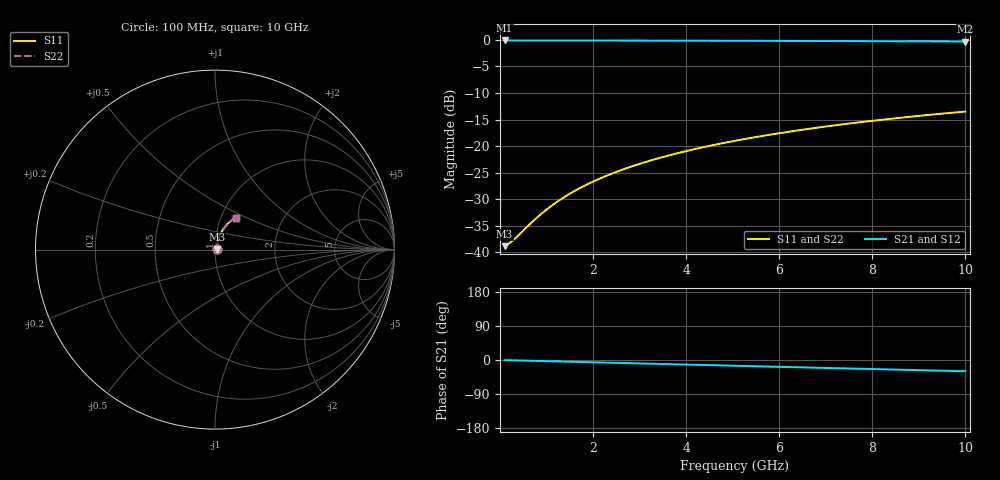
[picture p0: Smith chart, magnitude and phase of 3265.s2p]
# Hz S RI R 50.00
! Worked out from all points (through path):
!   100 points, 100 MHz to 10 GHz, reference 50 ohm
!   highest |S21| = -0.10 dB at 100 MHz (marker M1); lowest = -0.3 dB at 10 GHz (marker M2)
!   group delay of S21, straight-line fit = 8.26 ps
!   lowest |S11| = -38.9 dB at 100 MHz (marker M3), VSWR 1.02, Z = 51.1 + j0.224 ohm
!   |S11| at or under -10 dB: start of sweep to end of sweep
!   |S22| runs from -38.9 to -13.5 dB; largest |S21 - S12| = 0
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1e8  0.0112 0.00219  0.9888 -0.0052  0.9888 -0.0052  0.0112 0.00219
2e8  0.0113 0.00437  0.9887 -0.0104  0.9887 -0.0104  0.0113 0.00437
3e8  0.0114 0.00656  0.9885 -0.0156  0.9885 -0.0156  0.0114 0.00656
6e8  0.0118 0.0131  0.988 -0.0312  0.988 -0.0312  0.0118 0.0131
8e8  0.0122 0.0175  0.9875 -0.0416  0.9875 -0.0416  0.0122 0.0175
9e8  0.0124 0.0196  0.9872 -0.0468  0.9872 -0.0468  0.0124 0.0196
1.1e9  0.0129 0.024  0.9865 -0.0572  0.9865 -0.0572  0.0129 0.024
1.4e9  0.0139 0.0305  0.9852 -0.0727  0.9852 -0.0727  0.0139 0.0305
1.6e9  0.0146 0.0348  0.9842 -0.083  0.9842 -0.083  0.0146 0.0348
1.8e9  0.0154 0.039  0.9831 -0.0934  0.9831 -0.0934  0.0154 0.039
2.1e9  0.0168 0.0454  0.9812 -0.1088  0.9812 -0.1088  0.0168 0.0454
2.5e9  0.0189 0.0539  0.9781 -0.1293  0.9781 -0.1293  0.0189 0.0539
2.9e9  0.0214 0.0622  0.9747 -0.1497  0.9747 -0.1497  0.0214 0.0622
3.4e9  0.025 0.0725  0.9696 -0.1751  0.9696 -0.1751  0.025 0.0725
3.8e9  0.0283 0.0805  0.965 -0.1952  0.965 -0.1952  0.0283 0.0805
4.2e9  0.0319 0.0884  0.9599 -0.2151  0.9599 -0.2151  0.0319 0.0884
5.1e9  0.0411 0.1055  0.9468 -0.2593  0.9468 -0.2593  0.0411 0.1055
5.9e9  0.0506 0.1199  0.9332 -0.2978  0.9332 -0.2978  0.0506 0.1199
6.7e9  0.0612 0.1333  0.9179 -0.3353  0.9179 -0.3353  0.0612 0.1333
7.5e9  0.0728 0.1458  0.901 -0.3718  0.901 -0.3718  0.0728 0.1458
8.4e9  0.087 0.1586  0.8801 -0.4116  0.8801 -0.4116  0.087 0.1586
1e10  0.1146 0.1777  0.8385 -0.4786  0.8385 -0.4786  0.1146 0.1777
